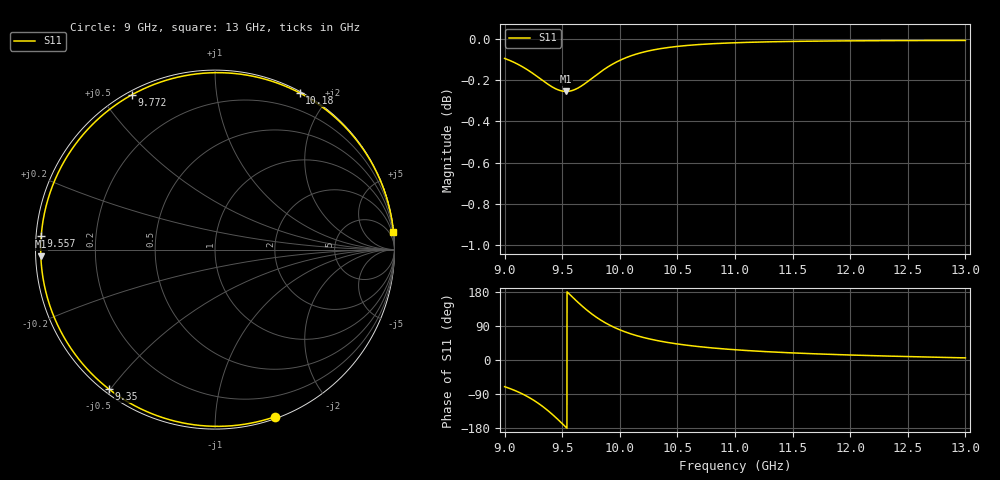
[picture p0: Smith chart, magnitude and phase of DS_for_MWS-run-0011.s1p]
! TOUCHSTONE file generated by CST DESIGN STUDIO
! Date and time: Tue Feb  4 12:34:33 2025
! Project name: C:\Work\MatlabApps\UnitCellOptimizationMatlab\CST\unitcell.cst
! Tree item: Tasks\Sweep1\SPara1\S-Parameters
! Header version: 2024
! Port assignment regex: !\s*Touchstone port\s*([0-9]+)\s*=\s*(CST MWS port|CST DES external port|CST DES block port)\s*(.+)\s* \(\"(.*)\"\)(\s*mode\s*([0-9]+))?.*
! Touchstone port assignment:
! Touchstone port 1 = CST DES external port 1 ("")
# GHz S MA R 50
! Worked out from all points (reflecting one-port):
!   4001 points, 9 GHz to 13 GHz, reference 50 ohm
!   lowest |S11| = -0.3 dB at 9.534 GHz (marker M1), VSWR 68.38, Z = 0.731 - j0.957 ohm
!   phase of S11 starts at -70 deg and turns -284 deg over the sweep
!   S11 on the Smith chart (normalised r, x): 9 GHz: 0.02, -1.42; 9.35 GHz: 0.01, -0.50; 9.557 GHz: 0.01, +0.04; 9.772 GHz: 0.01, +0.60; 10.18 GHz: 0.01, +1.68; 13 GHz: 0, +20
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9  0.9893 -70.3
9.099  0.9866 -81.8
9.207  0.9827 -98.0
9.282  0.9794 -112.1
9.35  0.9763 -127.2
9.421  0.9733 -145.3
9.462  0.9721 -156.7
9.5  0.9714 -167.8
9.534  0.9712 -177.8
9.557  0.9713 175.4
9.611  0.9722 159.5
9.671  0.9743 142.8
9.721  0.9766 130.0
9.772  0.979 118.2
9.82  0.9813 108.2
9.873  0.9836 98.4
9.931  0.9859 89.1
10  0.9882 79.7
10.085  0.9905 70.1
10.178  0.9923 61.6
10.325  0.9944 51.3
10.5  0.996 42.3
10.721  0.9972 34.2
11  0.998 27.1
11.5  0.9988 18.7
12  0.9991 13.2
12.5  0.9992 9.0
13  0.9993 5.6
